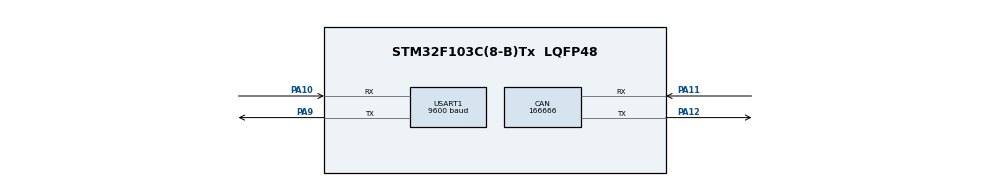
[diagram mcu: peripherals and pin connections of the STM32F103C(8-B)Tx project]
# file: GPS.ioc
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CAN.CalculateBaudRate=166666
CAN.CalculateTimeBit=6000
CAN.CalculateTimeQuantum=2000.0
Mcu.Family=STM32F1
Mcu.Name=STM32F103C(8-B)Tx
Mcu.Package=LQFP48
NVIC.PriorityGroup=NVIC_PRIORITYGROUP_4
NVIC.USART1_IRQn=true\:0\:0\:false\:false\:true\:true\:true\:true
PA10.Mode=Asynchronous
PA10.Signal=USART1_RX
PA11.Mode=CAN_Activate
PA11.Signal=CAN_RX
PA12.Mode=CAN_Activate
PA12.Signal=CAN_TX
PA9.Mode=Asynchronous
PA9.Signal=USART1_TX
ProjectManager.HeapSize=0x200
ProjectManager.StackSize=0x400
ProjectManager.TargetToolchain=STM32CubeIDE
RCC.APB1Freq_Value=8000000
RCC.APB2Freq_Value=8000000
USART1.BaudRate=9600
USART1.VirtualMode=VM_ASYNC
VP_SYS_VS_ND.Mode=No_Debug
board=custom

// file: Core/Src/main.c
/* USER CODE BEGIN Header */
/**
  ******************************************************************************
  * @file           : main.c
  * @brief          : Main program body
  ******************************************************************************
  * @attention
  *
  * Copyright (c) 2024 STMicroelectronics.
  * All rights reserved.
  *
  * This software is licensed under terms that can be found in the LICENSE file
  * in the root directory of this software component.
  * If no LICENSE file comes with this software, it is provided AS-IS.
  *
  ******************************************************************************
  */
/* USER CODE END Header */
#include "main.h"

CAN_HandleTypeDef hcan;

UART_HandleTypeDef huart1;

/* USER CODE BEGIN PV */
uint8_t Rx_data[1024];				// load incoming GPS data here in byte by byte
uint8_t debug[100];					// use this array to see debug values (printing is not supported)
unsigned int debug_ct = 0;

//used to parse message when reading byte by byte
volatile unsigned char Gpsdata;    	// one byte of incoming GPSdata
unsigned int finish =0;            	// indicate end of message
unsigned int pos_cnt=0;            	// keep track of how many bytes you have read so far
unsigned int lat_cnt=0;            	// latitude data counter (NOT USED YET)
unsigned int log_cnt=0;            	// longitude data counter (NOT USED YET)
unsigned int com_cnt=0;            	// count commas to parse message

//store values here before sending them over CAN Buses 7, 8, and 9
unsigned char lat[20];             	// store latitude here
unsigned char lg[20];              	// store longitude here
unsigned int num_SV=0;				// store number of satellites here
int i=0;
unsigned char dir,dir1;
/* USER CODE END PV */

void SystemClock_Config(void);
static void MX_GPIO_Init(void);
static void MX_USART1_UART_Init(void);
static void MX_CAN_Init(void);

int main(void)
{

  /* MCU Configuration--------------------------------------------------------*/

  /* Reset of all peripherals, Initializes the Flash interface and the Systick. */
  HAL_Init();

  /* Configure the system clock */
  SystemClock_Config();

  /* Initialize all configured peripherals */
  MX_GPIO_Init();
  MX_USART1_UART_Init();
  MX_CAN_Init();
  /* USER CODE BEGIN 2 */

  //Enter the interrupt when UART receives data load one byte into Rx_data
  HAL_UART_Receive_IT(&huart1, Rx_data, 1);

  /* USER CODE END 2 */

  /* Infinite loop */
  while (1)
  {

  }
}

void SystemClock_Config(void)
{
  RCC_OscInitTypeDef RCC_OscInitStruct = {0};
  RCC_ClkInitTypeDef RCC_ClkInitStruct = {0};

  /** Initializes the RCC Oscillators according to the specified parameters
  * in the RCC_OscInitTypeDef structure.
  */
  RCC_OscInitStruct.OscillatorType = RCC_OSCILLATORTYPE_HSI;
  RCC_OscInitStruct.HSIState = RCC_HSI_ON;
  RCC_OscInitStruct.HSICalibrationValue = RCC_HSICALIBRATION_DEFAULT;
  RCC_OscInitStruct.PLL.PLLState = RCC_PLL_NONE;
  if (HAL_RCC_OscConfig(&RCC_OscInitStruct) != HAL_OK)
  {
    Error_Handler();
  }

  /** Initializes the CPU, AHB and APB buses clocks
  */
  RCC_ClkInitStruct.ClockType = RCC_CLOCKTYPE_HCLK|RCC_CLOCKTYPE_SYSCLK
                              |RCC_CLOCKTYPE_PCLK1|RCC_CLOCKTYPE_PCLK2;
  RCC_ClkInitStruct.SYSCLKSource = RCC_SYSCLKSOURCE_HSI;
  RCC_ClkInitStruct.AHBCLKDivider = RCC_SYSCLK_DIV1;
  RCC_ClkInitStruct.APB1CLKDivider = RCC_HCLK_DIV1;
  RCC_ClkInitStruct.APB2CLKDivider = RCC_HCLK_DIV1;

  if (HAL_RCC_ClockConfig(&RCC_ClkInitStruct, FLASH_LATENCY_0) != HAL_OK)
  {
    Error_Handler();
  }
}

static void MX_CAN_Init(void)
{

  hcan.Instance = CAN1;
  hcan.Init.Prescaler = 16;
  hcan.Init.Mode = CAN_MODE_NORMAL;
  hcan.Init.SyncJumpWidth = CAN_SJW_1TQ;
  hcan.Init.TimeSeg1 = CAN_BS1_1TQ;
  hcan.Init.TimeSeg2 = CAN_BS2_1TQ;
  hcan.Init.TimeTriggeredMode = DISABLE;
  hcan.Init.AutoBusOff = DISABLE;
  hcan.Init.AutoWakeUp = DISABLE;
  hcan.Init.AutoRetransmission = DISABLE;
  hcan.Init.ReceiveFifoLocked = DISABLE;
  hcan.Init.TransmitFifoPriority = DISABLE;
  if (HAL_CAN_Init(&hcan) != HAL_OK)
  {
    Error_Handler();
  }

}

static void MX_USART1_UART_Init(void)
{

  huart1.Instance = USART1;
  huart1.Init.BaudRate = 9600;
  huart1.Init.WordLength = UART_WORDLENGTH_8B;
  huart1.Init.StopBits = UART_STOPBITS_1;
  huart1.Init.Parity = UART_PARITY_NONE;
  huart1.Init.Mode = UART_MODE_TX_RX;
  huart1.Init.HwFlowCtl = UART_HWCONTROL_NONE;
  huart1.Init.OverSampling = UART_OVERSAMPLING_16;
  if (HAL_UART_Init(&huart1) != HAL_OK)
  {
    Error_Handler();
  }

}

static void MX_GPIO_Init(void)
{

  /* GPIO Ports Clock Enable */
  __HAL_RCC_GPIOA_CLK_ENABLE();

}

/* USER CODE BEGIN 4 */
void HAL_UART_RxCpltCallback(UART_HandleTypeDef * huart)
{
    // We will use Gpsdata from here on
	Gpsdata = Rx_data[0];

	// We want to read bytes until we see the string "$GNRMC" which indicates the start of the NMEA message
	if (pos_cnt == 0) {
		if (Gpsdata == '$') {
			pos_cnt = 1;
		} else {
			pos_cnt = 0;
		}
	}
	else if (pos_cnt == 1) {
		if (Gpsdata == 'G') {
			pos_cnt = 2;
		} else {
			pos_cnt = 0;
		}
	}
	else if (pos_cnt == 2) {
		if (Gpsdata == 'N') {
			pos_cnt = 3;
		} else {
			pos_cnt = 0;
		}
	}
	else if (pos_cnt == 3) {
		if (Gpsdata == 'R') {
			pos_cnt = 4;
		} else {
			pos_cnt = 0;
		}
	}
	else if (pos_cnt == 4) {
		if (Gpsdata == 'M') {
			pos_cnt = 5;
		} else {
			pos_cnt = 0;
		}
	}
	else if (pos_cnt == 5) {
		if (Gpsdata == 'C') {
			pos_cnt = 6;
		} else {
			pos_cnt = 0;
		}
	}

	// If we reach this point we have seen the entire "$GNRMC" message
	else if (pos_cnt == 6) {
		if (Gpsdata == ',') {
			com_cnt+=1;
		// At comma position 2 we have either an A for active data, or a V for void data
		// to debug add a breakpoint on line 311 and if the program stops here you know there is valid data to read
		} else if (com_cnt == 2) {
			if (Gpsdata == 'A') {
				com_cnt = 5;
			} else if (Gpsdata == 'V') {
				com_cnt = 5;
			} else {
			// you never know
				com_cnt = 5;
			}
		}

		// when you see the * this is the end of the message. Here we reset the counters and debugging arrays
		if (Gpsdata == '*') {
			pos_cnt = 0;
			debug_ct = 0;
			com_cnt=0;
			memset(debug, 0, sizeof debug);
		//if we are not at the end of the message and it is not a comma load it into the debug array
		} else if(debug_ct< 100){
			debug[debug_ct] = Gpsdata;
			debug_ct++;
		}
	}

// WHEN INCOMING DATA IS NOT VOID YOU CAN USE SIMILAR CODE TO PUlL OUT LATITUDE, LONGITUDE, AND NUMBER OF SATELLITES

//            if (pos_cnt == 6 && Gpsdata == ',') { // count commas in message
//                com_cnt++;
//
//            }
//
//            if(Gpsdata=='N' || Gpsdata=='S'){dir=Gpsdata;}
//            if(Gpsdata=='E' || Gpsdata=='W'){dir1=Gpsdata;}
//
//            if (com_cnt == 3 && flg == 1) {
//                    lat[lat_cnt++] = Gpsdata; // latitude
//            }
//            if (com_cnt == 5 && flg == 1) {
//                    lg[log_cnt++] = Gpsdata; // longitude
//            }
//            if (Gpsdata == '*' && com_cnt >= 5 && flg == 1) {
//                        lat[lat_cnt] = dir;
//                        lat[lat_cnt + 1] = '\0'; // end of GPRMC message
//                        lg[log_cnt] = dir1;
//                        lg[log_cnt + 1] = '\0';
//                        lat_cnt = 0;
//                        log_cnt = 0;
//                        finish = 1;
//                        com_cnt = 0;
//                        i = 0;
//            }

//END OF SAMPLE CODE

	//reset our interrupt to wait for the next incoming byte of data
    HAL_UART_Receive_IT(&huart1, Rx_data, 1);
}

/* USER CODE END 4 */

void Error_Handler(void)
{
  __disable_irq();
  while (1)
  {
  }
}
